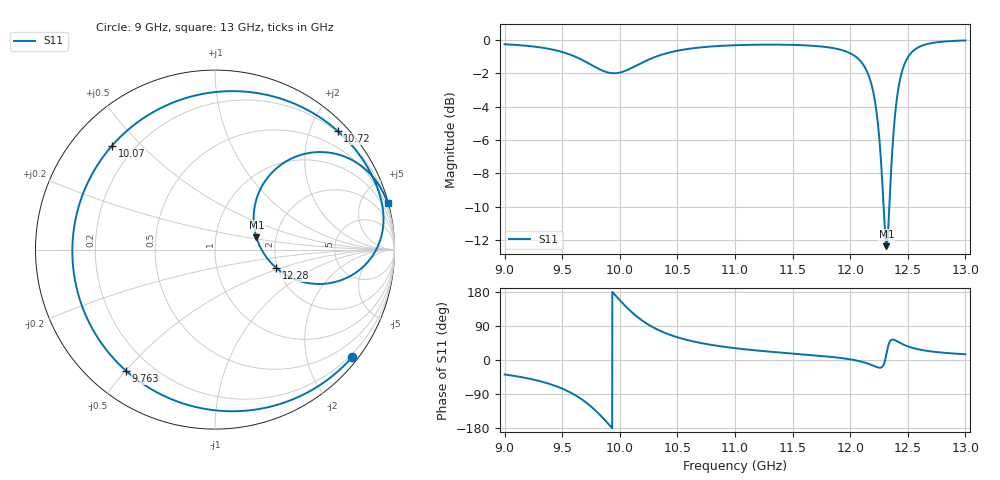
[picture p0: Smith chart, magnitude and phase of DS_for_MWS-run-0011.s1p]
! TOUCHSTONE file generated by CST DESIGN STUDIO
! Date and time: Tue Feb  4 17:35:20 2025
! Project name: C:\Work\MatlabApps\UnitCellOptimizationMatlab\CST\unitcell.cst
! Tree item: Tasks\Sweep1\SPara1\S-Parameters
! Header version: 2024
! Port assignment regex: !\s*Touchstone port\s*([0-9]+)\s*=\s*(CST MWS port|CST DES external port|CST DES block port)\s*(.+)\s* \(\"(.*)\"\)(\s*mode\s*([0-9]+))?.*
! Touchstone port assignment:
! Touchstone port 1 = CST DES external port 1 ("")
# GHz S MA R 50
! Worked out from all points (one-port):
!   4001 points, 9 GHz to 13 GHz, reference 50 ohm
!   lowest |S11| = -12.4 dB at 12.31 GHz (marker M1), VSWR 1.63, Z = 79.1 + j11.4 ohm
!   |S11| at or under -10 dB: 12.28982 GHz to 12.33968 GHz (49.86 MHz wide, 0.405 % of centre)
!   S11 on the Smith chart (normalised r, x): 9 GHz: 0.14, -2.88; 9.763 GHz: 0.11, -0.50; 10.07 GHz: 0.12, +0.41; 10.72 GHz: 0.18, +2.46; 12.28 GHz: 1.96, -0.46; 13 GHz: 0.11, +7.52
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9  0.9705 -38.2
9.282  0.9525 -54.0
9.5  0.9198 -75.5
9.647  0.8798 -99.2
9.763  0.8379 -126.2
9.89  0.7998 -165.0
9.944  0.7945 176.6
10  0.7982 157.8
10.074  0.8151 134.7
10.155  0.8415 113.1
10.243  0.8705 94.3
10.368  0.9038 74.6
10.5  0.9279 60.0
10.716  0.9506 44.1
11  0.964 31.2
11.5  0.9663 17.0
12  0.912 1.8
12.096  0.8586 -4.2
12.165  0.7741 -10.7
12.233  0.5914 -18.8
12.282  0.3562 -16.7
12.315  0.2408 16.3
12.351  0.3805 51.5
12.398  0.6362 51.0
12.44  0.7803 44.1
12.5  0.8859 35.9
12.668  0.9717 24.0
13  0.9962 15.1
